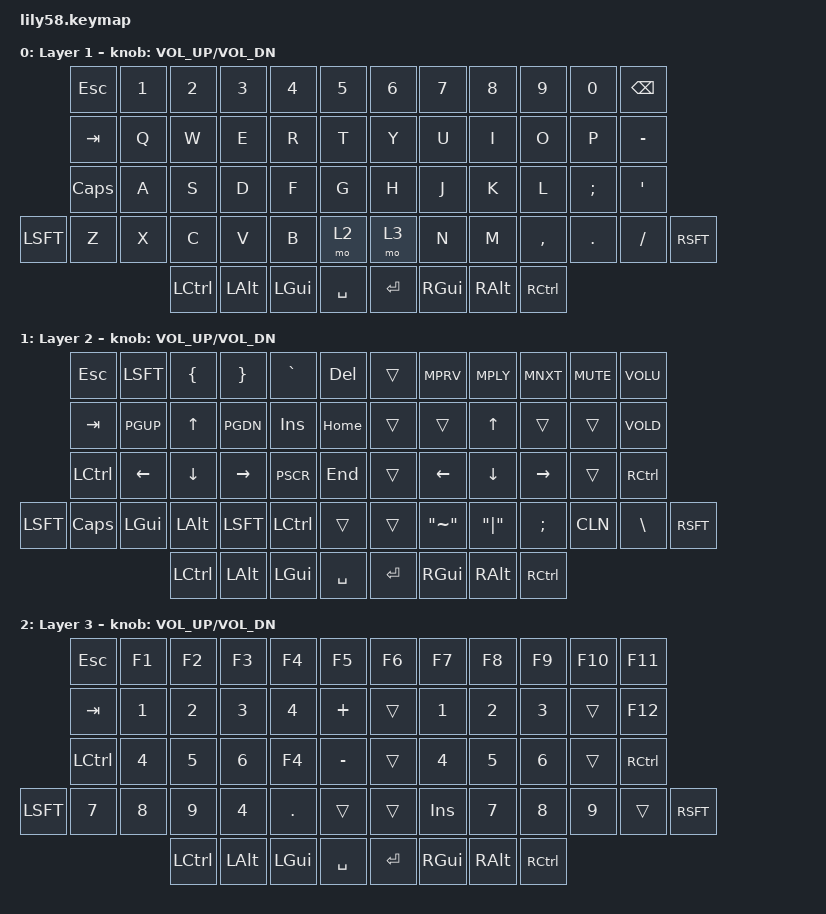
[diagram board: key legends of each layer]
/*
 * Copyright (c) 2020 The ZMK Contributors
 *
 * SPDX-License-Identifier: MIT
 */

#include <behaviors.dtsi>
#include <dt-bindings/zmk/keys.h>
#include <dt-bindings/zmk/bt.h>
#include <dt-bindings/zmk/ext_power.h>

/ {
    keymap {
        compatible = "zmk,keymap";

        default_layer {
            display-name = "Layer 1";
            bindings = <
                &kp ESC &kp N1 &kp N2 &kp N3 &kp N4 &kp N5 &kp N6 &kp N7 &kp N8 &kp N9 &kp N0 &kp BKSP
                &kp TAB &kp Q &kp W &kp E &kp R &kp T &kp Y &kp U &kp I &kp O &kp P &kp MINUS
                &kp CAPS &kp A &kp S &kp D &kp F &kp G &kp H &kp J &kp K &kp L &kp SEMI &kp QUOT
                &kp LSFT &kp Z &kp X &kp C &kp V &kp B &mo 2 &mo 3 &kp N &kp M &kp COMMA &kp DOT &kp FSLH &kp RSFT
                &kp LCTRL &kp LALT &kp LGUI &kp SPACE &kp ENTER &kp RGUI &kp RALT &kp RCTRL
            >;

            sensor-bindings = <&inc_dec_kp C_VOL_UP C_VOL_DN>;
        };

        lower_layer {
            display-name = "Layer 2";
            bindings = <
                &kp ESC &kp LSFT &kp LBRC &kp RBRC &kp GRAVE &kp DEL &trans &kp MPRV &kp MPLY &kp MNXT &kp MUTE &kp VOLU
                &kp TAB &kp PGUP &kp UP &kp PGDN &kp INS &kp HOME &trans &trans &kp UP &trans &trans &kp VOLD
                &kp LCTRL &kp LEFT &kp DOWN &kp RIGHT &kp PSCR &kp END &trans &kp LEFT &kp DOWN &kp RIGHT &trans &kp RCTRL
                &kp LSFT &kp CAPS &kp LGUI &kp LALT &kp LSFT &kp LCTL &trans &trans &kp "~" &kp "|" &kp SEMI &kp CLN &kp BSLH &kp RSFT
                &kp LCTRL &kp LALT &kp LGUI &kp SPACE &kp ENTER &kp RGUI &kp RALT &kp RCTRL
            >;

            sensor-bindings = <&inc_dec_kp C_VOL_UP C_VOL_DN>;
        };

        raise_layer {
            display-name = "Layer 3";
            bindings = <
                &kp ESC &kp F1 &kp F2 &kp F3 &kp F4 &kp F5 &kp F6 &kp F7 &kp F8 &kp F9 &kp F10 &kp F11
                &kp TAB &kp N1 &kp N2 &kp N3 &kp N4 &kp PLUS &trans &kp N1 &kp N2 &kp N3 &trans &kp F12
                &kp LCTRL &kp N4 &kp N5 &kp N6 &kp F4 &kp MINUS &trans &kp N4 &kp N5 &kp N6 &trans &kp RCTRL
                &kp LSFT &kp N7 &kp N8 &kp N9 &kp N4 &kp DOT &trans &trans &kp INS &kp N7 &kp N8 &kp N9 &trans &kp RSFT
                &kp LCTRL &kp LALT &kp LGUI &kp SPACE &kp ENTER &kp RGUI &kp RALT &kp RCTRL
            >;

            sensor-bindings = <&inc_dec_kp C_VOL_UP C_VOL_DN>;
        };
    };
};
